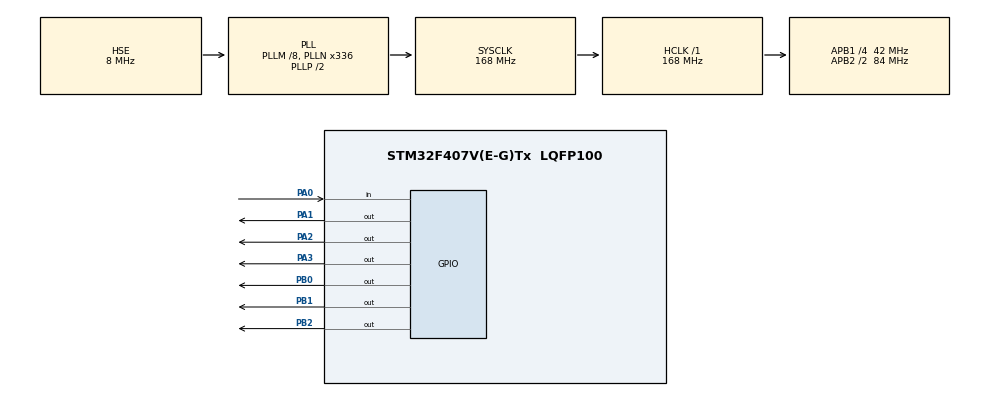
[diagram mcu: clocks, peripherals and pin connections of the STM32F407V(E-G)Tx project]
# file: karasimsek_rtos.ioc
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FREERTOS.Tasks01=defaultTask,24,128,StartDefaultTask,Default,NULL,Dynamic,NULL,NULL;myTask02,24,128,StartTask02,Default,NULL,Dynamic,NULL,NULL
Mcu.Family=STM32F4
Mcu.Name=STM32F407V(E-G)Tx
Mcu.Package=LQFP100
NVIC.PriorityGroup=NVIC_PRIORITYGROUP_4
NVIC.TIM6_DAC_IRQn=true\:15\:0\:false\:false\:true\:false\:false\:true\:true
NVIC.TimeBase=TIM6_DAC_IRQn
NVIC.TimeBaseIP=TIM6
PA0-WKUP.GPIO_PuPd=GPIO_PULLDOWN
PA0-WKUP.Signal=GPIO_Input
PA1.Signal=GPIO_Output
PA13.Mode=Serial_Wire
PA13.Signal=SYS_JTMS-SWDIO
PA14.Mode=Serial_Wire
PA14.Signal=SYS_JTCK-SWCLK
PA2.Signal=GPIO_Output
PA3.Signal=GPIO_Output
PB0.Signal=GPIO_Output
PB1.Signal=GPIO_Output
PB2.Signal=GPIO_Output
PH0-OSC_IN.Mode=HSE-External-Oscillator
PH0-OSC_IN.Signal=RCC_OSC_IN
PH1-OSC_OUT.Mode=HSE-External-Oscillator
PH1-OSC_OUT.Signal=RCC_OSC_OUT
ProjectManager.HeapSize=0x200
ProjectManager.StackSize=0x400
ProjectManager.TargetToolchain=STM32CubeIDE
RCC.48MHZClocksFreq_Value=48000000
RCC.AHBFreq_Value=168000000
RCC.APB1CLKDivider=RCC_HCLK_DIV4
RCC.APB1Freq_Value=42000000
RCC.APB1TimFreq_Value=84000000
RCC.APB2CLKDivider=RCC_HCLK_DIV2
RCC.APB2Freq_Value=84000000
RCC.APB2TimFreq_Value=168000000
RCC.CortexFreq_Value=168000000
RCC.HCLKFreq_Value=168000000
RCC.HSE_VALUE=8000000
RCC.HSI_VALUE=16000000
RCC.PLLM=8
RCC.PLLN=336
RCC.PLLQ=7
RCC.PLLSourceVirtual=RCC_PLLSOURCE_HSE
RCC.SYSCLKFreq_VALUE=168000000
RCC.SYSCLKSource=RCC_SYSCLKSOURCE_PLLCLK
RCC.VCOOutputFreq_Value=336000000
VP_FREERTOS_VS_CMSIS_V2.Mode=CMSIS_V2
VP_SYS_VS_tim6.Mode=TIM6
board=STM32F407G-DISC1

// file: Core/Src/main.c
/* USER CODE BEGIN Header */
/**
  ******************************************************************************
  * @file           : main.c
  * @brief          : Main program body
  ******************************************************************************
  * @attention
  *
  * Copyright (c) 2023 STMicroelectronics.
  * All rights reserved.
  *
  * This software is licensed under terms that can be found in the LICENSE file
  * in the root directory of this software component.
  * If no LICENSE file comes with this software, it is provided AS-IS.
  *
  ******************************************************************************
  */
/* USER CODE END Header */
#include "main.h"
#include "cmsis_os.h"

/* Definitions for defaultTask */
osThreadId_t defaultTaskHandle;
const osThreadAttr_t defaultTask_attributes = {
  .name = "defaultTask",
  .stack_size = 128 * 4,
  .priority = (osPriority_t) osPriorityNormal,
};
/* Definitions for myTask02 */
osThreadId_t myTask02Handle;
const osThreadAttr_t myTask02_attributes = {
  .name = "myTask02",
  .stack_size = 128 * 4,
  .priority = (osPriority_t) osPriorityNormal,
};
/* USER CODE BEGIN PV */
int time=600;
uint16_t buttonState=0;
uint16_t counter=0;

/* USER CODE END PV */

void SystemClock_Config(void);
static void MX_GPIO_Init(void);
void StartDefaultTask(void *argument);
void StartTask02(void *argument);

int main(void)
{

  /* MCU Configuration--------------------------------------------------------*/

  /* Reset of all peripherals, Initializes the Flash interface and the Systick. */
  HAL_Init();

  /* Configure the system clock */
  SystemClock_Config();

  /* Initialize all configured peripherals */
  MX_GPIO_Init();

  /* Init scheduler */
  osKernelInitialize();

  /* Create the thread(s) */
  /* creation of defaultTask */
  defaultTaskHandle = osThreadNew(StartDefaultTask, NULL, &defaultTask_attributes);

  /* creation of myTask02 */
  myTask02Handle = osThreadNew(StartTask02, NULL, &myTask02_attributes);

  /* Start scheduler */
  osKernelStart();
  /* We should never get here as control is now taken by the scheduler */
  /* Infinite loop */
  while (1)
  {

  }
}

void SystemClock_Config(void)
{
  RCC_OscInitTypeDef RCC_OscInitStruct = {0};
  RCC_ClkInitTypeDef RCC_ClkInitStruct = {0};

  /** Configure the main internal regulator output voltage
  */
  __HAL_RCC_PWR_CLK_ENABLE();
  __HAL_PWR_VOLTAGESCALING_CONFIG(PWR_REGULATOR_VOLTAGE_SCALE1);

  /** Initializes the RCC Oscillators according to the specified parameters
  * in the RCC_OscInitTypeDef structure.
  */
  RCC_OscInitStruct.OscillatorType = RCC_OSCILLATORTYPE_HSE;
  RCC_OscInitStruct.HSEState = RCC_HSE_ON;
  RCC_OscInitStruct.PLL.PLLState = RCC_PLL_ON;
  RCC_OscInitStruct.PLL.PLLSource = RCC_PLLSOURCE_HSE;
  RCC_OscInitStruct.PLL.PLLM = 8;
  RCC_OscInitStruct.PLL.PLLN = 336;
  RCC_OscInitStruct.PLL.PLLP = RCC_PLLP_DIV2;
  RCC_OscInitStruct.PLL.PLLQ = 7;
  if (HAL_RCC_OscConfig(&RCC_OscInitStruct) != HAL_OK)
  {
    Error_Handler();
  }

  /** Initializes the CPU, AHB and APB buses clocks
  */
  RCC_ClkInitStruct.ClockType = RCC_CLOCKTYPE_HCLK|RCC_CLOCKTYPE_SYSCLK
                              |RCC_CLOCKTYPE_PCLK1|RCC_CLOCKTYPE_PCLK2;
  RCC_ClkInitStruct.SYSCLKSource = RCC_SYSCLKSOURCE_PLLCLK;
  RCC_ClkInitStruct.AHBCLKDivider = RCC_SYSCLK_DIV1;
  RCC_ClkInitStruct.APB1CLKDivider = RCC_HCLK_DIV4;
  RCC_ClkInitStruct.APB2CLKDivider = RCC_HCLK_DIV2;

  if (HAL_RCC_ClockConfig(&RCC_ClkInitStruct, FLASH_LATENCY_5) != HAL_OK)
  {
    Error_Handler();
  }
}

static void MX_GPIO_Init(void)
{
  GPIO_InitTypeDef GPIO_InitStruct = {0};

  /* GPIO Ports Clock Enable */
  __HAL_RCC_GPIOH_CLK_ENABLE();
  __HAL_RCC_GPIOA_CLK_ENABLE();
  __HAL_RCC_GPIOB_CLK_ENABLE();

  /*Configure GPIO pin Output Level */
  HAL_GPIO_WritePin(GPIOA, GPIO_PIN_1|GPIO_PIN_2|GPIO_PIN_3, GPIO_PIN_RESET);

  /*Configure GPIO pin Output Level */
  HAL_GPIO_WritePin(GPIOB, GPIO_PIN_0|GPIO_PIN_1|GPIO_PIN_2, GPIO_PIN_RESET);

  /*Configure GPIO pin : PA0 */
  GPIO_InitStruct.Pin = GPIO_PIN_0;
  GPIO_InitStruct.Mode = GPIO_MODE_INPUT;
  GPIO_InitStruct.Pull = GPIO_PULLDOWN;
  HAL_GPIO_Init(GPIOA, &GPIO_InitStruct);

  /*Configure GPIO pins : PA1 PA2 PA3 */
  GPIO_InitStruct.Pin = GPIO_PIN_1|GPIO_PIN_2|GPIO_PIN_3;
  GPIO_InitStruct.Mode = GPIO_MODE_OUTPUT_PP;
  GPIO_InitStruct.Pull = GPIO_NOPULL;
  GPIO_InitStruct.Speed = GPIO_SPEED_FREQ_LOW;
  HAL_GPIO_Init(GPIOA, &GPIO_InitStruct);

  /*Configure GPIO pins : PB0 PB1 PB2 */
  GPIO_InitStruct.Pin = GPIO_PIN_0|GPIO_PIN_1|GPIO_PIN_2;
  GPIO_InitStruct.Mode = GPIO_MODE_OUTPUT_PP;
  GPIO_InitStruct.Pull = GPIO_NOPULL;
  GPIO_InitStruct.Speed = GPIO_SPEED_FREQ_LOW;
  HAL_GPIO_Init(GPIOB, &GPIO_InitStruct);

}

void StartDefaultTask(void *argument)
{
  /* USER CODE BEGIN 5 */
  /* Infinite loop */
  for(;;){

	  int LedArray[3]={GPIO_PIN_0,GPIO_PIN_1,GPIO_PIN_2};
	  for(int i=0;i<3;i++){
		  HAL_GPIO_WritePin(GPIOB, LedArray[i], GPIO_PIN_SET);
		  osDelay(360);
		  HAL_GPIO_WritePin(GPIOB, LedArray[i], GPIO_PIN_RESET);
		  osDelay(360);
	  }

	  for(int i=1;i>0;i--){
		  HAL_GPIO_WritePin(GPIOB, LedArray[i], GPIO_PIN_SET);
		  osDelay(360);
		  HAL_GPIO_WritePin(GPIOB, LedArray[i], GPIO_PIN_RESET);
		  osDelay(360);

	  }

  }
  /* USER CODE END 5 */
}

void StartTask02(void *argument){

  /* USER CODE BEGIN StartTask02 */
  /* Infinite loop */
  for(;;){

	  if(HAL_GPIO_ReadPin(GPIOA, GPIO_PIN_0)==1){
		  counter=counter+1;

		  int LedArray[3]={GPIO_PIN_1,GPIO_PIN_2,GPIO_PIN_3};
		  for(int i=0;i<3;i++){
			  HAL_GPIO_WritePin(GPIOA, LedArray[i], GPIO_PIN_SET);
			  osDelay(100);
			  HAL_GPIO_WritePin(GPIOA, LedArray[i], GPIO_PIN_RESET);
			  osDelay(100);
		  }

		  for(int i=1;i>0;i--){
			  HAL_GPIO_WritePin(GPIOA, LedArray[i], GPIO_PIN_SET);
			  osDelay(100);
			  HAL_GPIO_WritePin(GPIOA, LedArray[i], GPIO_PIN_RESET);
			  osDelay(100);

		  }
		  counter=0;

	  }
	  else{
		  int LedArray[3]={GPIO_PIN_1,GPIO_PIN_2,GPIO_PIN_3};
		  for(int i=0;i<3;i++){
			  HAL_GPIO_WritePin(GPIOA, LedArray[i], GPIO_PIN_SET);
			  osDelay(500);
			  HAL_GPIO_WritePin(GPIOA, LedArray[i], GPIO_PIN_RESET);
			  osDelay(500);
		  }

		  for(int i=1;i>0;i--){
			  HAL_GPIO_WritePin(GPIOA, LedArray[i], GPIO_PIN_SET);
			  osDelay(500);
			  HAL_GPIO_WritePin(GPIOA, LedArray[i], GPIO_PIN_RESET);
			  osDelay(500);

		  }
	  }

	  osDelay(1);
  }
  /* USER CODE END StartTask02 */
}

void HAL_TIM_PeriodElapsedCallback(TIM_HandleTypeDef *htim)
{
  if (htim->Instance == TIM6) {
    HAL_IncTick();
  }
}

void Error_Handler(void)
{
  __disable_irq();
  while (1)
  {
  }
}
